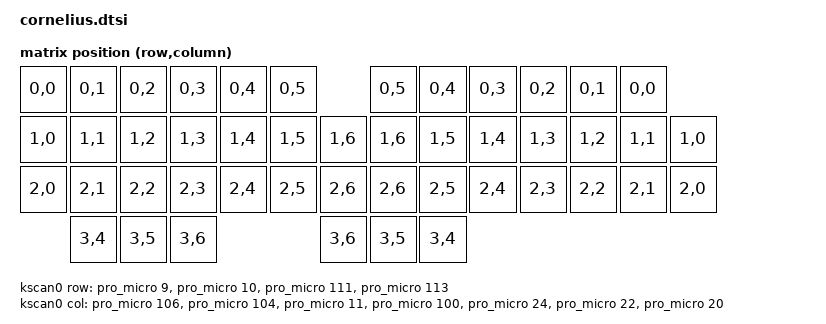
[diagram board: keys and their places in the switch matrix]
/*
 * Copyright (c) 2020 The ZMK Contributors
 *
 * SPDX-License-Identifier: MIT
 */

#include <dt-bindings/zmk/matrix_transform.h>

/ {
	chosen {
		zmk,kscan = &kscan0;
		zmk,matrix_transform = &default_transform;
	};

	default_transform: keymap_transform_0 {
		compatible = "zmk,matrix-transform";
		columns = <7>;
		rows = <4>;
		map = <
/* ╔════════════════════════╦════════════════════════╗
   ║ LEFT SIDE              ║ RIGHT SIDE             ║
   ║ Row 0 (top):           ║ Row 0 (top):           ║
   ║ 0   1   2   3   4   5  ║ 35  36  37  38  39  40 ║
   ║                        ║                        ║
   ║ Row 1 (home):          ║ Row 1 (home):          ║
   ║ 6   7   8   9   10  11 12║ 13  14  15  16  17  18 19║
   ║                        ║                        ║
   ║ Row 2 (bottom):        ║ Row 2 (bottom):        ║
   ║ 20  21  22  23  24  25 26║ 27  28  29  30  31  32 33║
   ║                        ║                        ║
   ║ Row 3 (thumb):         ║ Row 3 (thumb):         ║
   ║         10  11  12     ║ 13  14  15             ║
   ╚════════════════════════╩════════════════════════╝

   EXPLANATION OF KEYCODES:
   - Left side keys 0-34 (but we only use up to 26 as the aux column is at position 12)
   - Right side keys 35-52 (mirrored layout)
   
   Note: Row 3 (thumbs) uses keys from rows 1 and 2 positions (10, 11, 12 on left / 13, 14, 15 on right)
   This is called "matrix reuse" - the same physical keys serve double-duty in the transform
*/

/* Physical Layout (what you see):
   LEFT HALF:
   Row 0:  C1  C2  C3  C4  C5  C6
   Row 1:  C1  C2  C3  C4  C5  C6  AUX
   Row 2:  C1  C2  C3  C4  C5  C6  AUX
   Row 3:          C5  C6  AUX
   
   RIGHT HALF:
   Row 0:  C1  C2  C3  C4  C5  C6
   Row 1:  AUX C6  C5  C4  C3  C2  C1
   Row 2:  AUX C6  C5  C4  C3  C2  C1
   Row 3:  AUX C6  C5
*/

			RC(0,0) RC(0,1) RC(0,2) RC(0,3) RC(0,4) RC(0,5)                 RC(0,5) RC(0,4) RC(0,3) RC(0,2) RC(0,1) RC(0,0)
			RC(1,0) RC(1,1) RC(1,2) RC(1,3) RC(1,4) RC(1,5) RC(1,6)     RC(1,6) RC(1,5) RC(1,4) RC(1,3) RC(1,2) RC(1,1) RC(1,0)
			RC(2,0) RC(2,1) RC(2,2) RC(2,3) RC(2,4) RC(2,5) RC(2,6)     RC(2,6) RC(2,5) RC(2,4) RC(2,3) RC(2,2) RC(2,1) RC(2,0)
					RC(3,4) RC(3,5) RC(3,6)                 RC(3,6) RC(3,5) RC(3,4)
		>;
	};

	kscan0: kscan {
		compatible = "zmk,kscan-gpio-matrix";
		label = "KSCAN";
		/* 
		WHAT THIS DOES:
		- Defines how ZMK scans the keyboard matrix (which pins are rows/cols)
		- GPIO matrix scanning: outputs to row pins, reads from column pins
		- debounce-press/release: filtering for key bouncing (in milliseconds)
		- debounce-type: "eager" = respond immediately to key press
		*/

		diode-direction = "col2row";
		/* 
		DIODE EXPLANATION:
		- "col2row" means your matrix has diodes pointing FROM rows TO columns
		- This is the standard configuration for preventing ghosting
		- The diode blocks reverse current, ensuring accurate multi-key detection
		*/

		row-gpios
			= <&pro_micro 9 (GPIO_ACTIVE_HIGH | GPIO_PULL_DOWN)>  /* P009 - top row */
			, <&pro_micro 10 (GPIO_ACTIVE_HIGH | GPIO_PULL_DOWN)> /* P010 - home row */
			, <&pro_micro 111 (GPIO_ACTIVE_HIGH | GPIO_PULL_DOWN)> /* P111 - bottom row (note: 111 = P1.11) */
			, <&pro_micro 113 (GPIO_ACTIVE_HIGH | GPIO_PULL_DOWN)> /* P113 - thumb row (note: 113 = P1.13) */
			;

		col-gpios
			= <&pro_micro 106 (GPIO_ACTIVE_HIGH | GPIO_PULL_DOWN)> /* P106 - outer column */
			, <&pro_micro 104 (GPIO_ACTIVE_HIGH | GPIO_PULL_DOWN)> /* P104 - pinkie column */
			, <&pro_micro 11 (GPIO_ACTIVE_HIGH | GPIO_PULL_DOWN)>  /* P011 - ring column */
			, <&pro_micro 100 (GPIO_ACTIVE_HIGH | GPIO_PULL_DOWN)> /* P100 - middle column */
			, <&pro_micro 24 (GPIO_ACTIVE_HIGH | GPIO_PULL_DOWN)>  /* P024 - index column */
			, <&pro_micro 22 (GPIO_ACTIVE_HIGH | GPIO_PULL_DOWN)>  /* P022 - inner column */
			, <&pro_micro 20 (GPIO_ACTIVE_HIGH | GPIO_PULL_DOWN)>  /* P020 - aux column */
			;
	};
};
